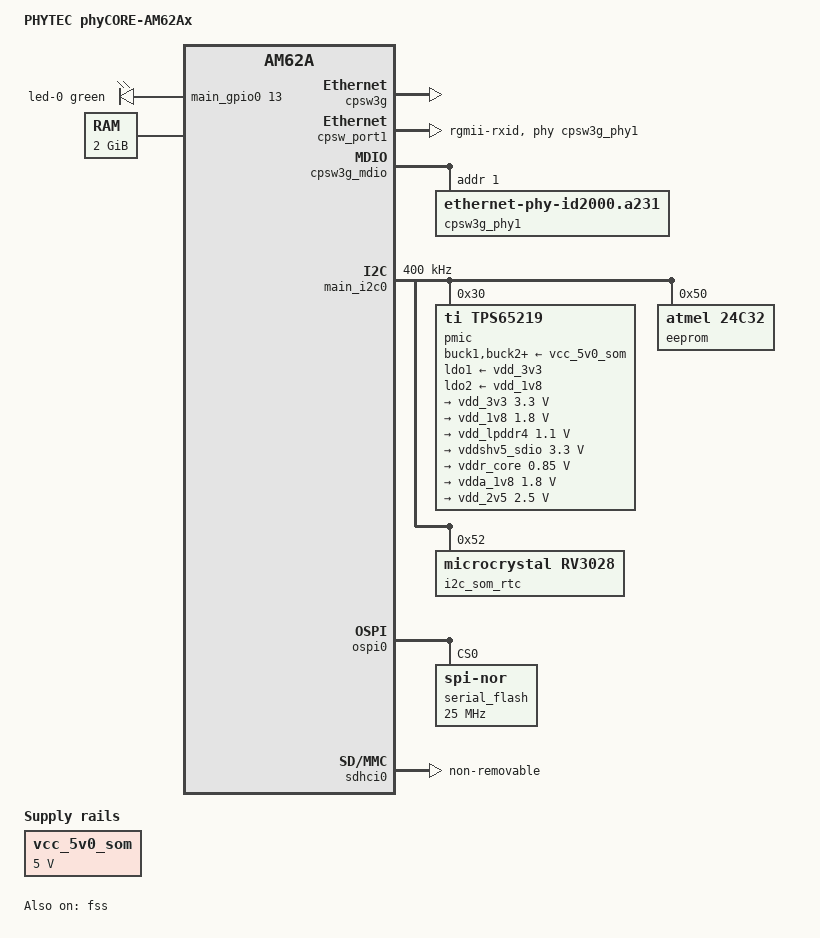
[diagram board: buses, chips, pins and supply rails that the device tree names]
// SPDX-License-Identifier: GPL-2.0-only OR MIT
/*
 * Copyright (C) 2023 - 2024 PHYTEC America LLC
 * Author: Garrett Giordano <ggiordano@phytec.com>
 *
 * Product homepage:
 * https://www.phytec.com/product/phycore-am62a
 */

#include <dt-bindings/gpio/gpio.h>
#include <dt-bindings/leds/common.h>
#include <dt-bindings/net/ti-dp83867.h>

/ {
	model = "PHYTEC phyCORE-AM62Ax";
	compatible = "phytec,am62a-phycore-som", "ti,am62a7";

	aliases {
		ethernet0 = &cpsw_port1;
		gpio0 = &main_gpio0;
		gpio1 = &main_gpio1;
		i2c0 = &main_i2c0;
		mmc0 = &sdhci0;
		rtc0 = &i2c_som_rtc;
		spi0 = &ospi0;
	};

	leds {
		compatible = "gpio-leds";
		pinctrl-names = "default";
		pinctrl-0 = <&leds_pins_default>;

		led-0 {
			color = <LED_COLOR_ID_GREEN>;
			gpios = <&main_gpio0 13 GPIO_ACTIVE_HIGH>;
			linux,default-trigger = "heartbeat";
			function = LED_FUNCTION_HEARTBEAT;
		};
	};

	memory@80000000 {
		device_type = "memory";
		/* 2G RAM */
		reg = <0x00000000 0x80000000 0x00000000 0x80000000>;
		bootph-all;
	};

	reserved-memory {
		#address-cells = <2>;
		#size-cells = <2>;
		ranges;

		/* global cma region */
		linux,cma {
			compatible = "shared-dma-pool";
			reusable;
			size = <0x00 0x24000000>;
			alloc-ranges = <0x00 0xc0000000 0x00 0x24000000>;
			linux,cma-default;
		};

		secure_tfa_ddr: tfa@9e780000 {
			reg = <0x00 0x9e780000 0x00 0x80000>;
			alignment = <0x1000>;
			no-map;
		};

		secure_ddr: optee@9e800000 {
			reg = <0x00 0x9e800000 0x00 0x01800000>; /* for OP-TEE */
			alignment = <0x1000>;
			no-map;
		};

		wkup_r5fss0_core0_memory_region: r5f-dma-memory@9c900000 {
			compatible = "shared-dma-pool";
			reg = <0x00 0x9c900000 0x00 0x01e00000>;
			no-map;
		};
	};

	vcc_5v0_som: regulator-vcc-5v0-som {
		compatible = "regulator-fixed";
		regulator-name = "VCC_5V0_SOM";
		regulator-min-microvolt = <5000000>;
		regulator-max-microvolt = <5000000>;
		regulator-always-on;
		regulator-boot-on;
	};
};

&main_pmx0 {
	leds_pins_default: leds-default-pins {
		pinctrl-single,pins = <
			AM62AX_IOPAD(0x034, PIN_OUTPUT, 7) /* (K20) OSPI0_CSN2.GPIO0_13 */
		>;
	};

	main_i2c0_pins_default: main-i2c0-default-pins {
		pinctrl-single,pins = <
			AM62AX_IOPAD(0x1e0, PIN_INPUT_PULLUP, 0) /* (D17) I2C0_SCL */
			AM62AX_IOPAD(0x1e4, PIN_INPUT_PULLUP, 0) /* (E16) I2C0_SDA */
		>;
		bootph-all;
	};

	main_mdio1_pins_default: main-mdio1-default-pins {
		pinctrl-single,pins = <
			AM62AX_IOPAD(0x160, PIN_OUTPUT, 0) /* (V12) MDIO0_MDC */
			AM62AX_IOPAD(0x15c, PIN_INPUT, 0) /* (V13) MDIO0_MDIO */
		>;
		bootph-all;
	};

	main_mmc0_pins_default: main-mmc0-default-pins {
		pinctrl-single,pins = <
			AM62AX_IOPAD(0x220, PIN_INPUT_PULLUP, 0) /* (Y6) MMC0_CMD */
			AM62AX_IOPAD(0x218, PIN_INPUT_PULLDOWN, 0) /* (AB7) MMC0_CLK */
			AM62AX_IOPAD(0x214, PIN_INPUT_PULLUP, 0) /* (AA6) MMC0_DAT0 */
			AM62AX_IOPAD(0x210, PIN_INPUT_PULLUP, 0) /* (AB6) MMC0_DAT1 */
			AM62AX_IOPAD(0x20c, PIN_INPUT_PULLUP, 0) /* (Y7) MMC0_DAT2 */
			AM62AX_IOPAD(0x208, PIN_INPUT_PULLUP, 0) /* (AA7) MMC0_DAT3 */
			AM62AX_IOPAD(0x204, PIN_INPUT_PULLUP, 0) /* (Y8) MMC0_DAT4 */
			AM62AX_IOPAD(0x200, PIN_INPUT_PULLUP, 0) /* (W7) MMC0_DAT5 */
			AM62AX_IOPAD(0x1fc, PIN_INPUT_PULLUP, 0) /* (W9) MMC0_DAT6 */
			AM62AX_IOPAD(0x1f8, PIN_INPUT_PULLUP, 0) /* (AB8) MMC0_DAT7 */
		>;
		bootph-all;
	};

	main_rgmii1_pins_default: main-rgmii1-default-pins {
		pinctrl-single,pins = <
			AM62AX_IOPAD(0x14c, PIN_INPUT, 0) /* (AB16) RGMII1_RD0 */
			AM62AX_IOPAD(0x150, PIN_INPUT, 0) /* (V15) RGMII1_RD1 */
			AM62AX_IOPAD(0x154, PIN_INPUT, 0) /* (W15) RGMII1_RD2 */
			AM62AX_IOPAD(0x158, PIN_INPUT, 0) /* (V14) RGMII1_RD3 */
			AM62AX_IOPAD(0x148, PIN_INPUT, 0) /* (AA16) RGMII1_RXC */
			AM62AX_IOPAD(0x144, PIN_INPUT, 0) /* (AA15) RGMII1_RX_CTL */
			AM62AX_IOPAD(0x134, PIN_OUTPUT, 0) /* (Y17) RGMII1_TD0 */
			AM62AX_IOPAD(0x138, PIN_OUTPUT, 0) /* (V16) RGMII1_TD1 */
			AM62AX_IOPAD(0x13c, PIN_OUTPUT, 0) /* (Y16) RGMII1_TD2 */
			AM62AX_IOPAD(0x140, PIN_OUTPUT, 0) /* (AA17) RGMII1_TD3 */
			AM62AX_IOPAD(0x130, PIN_OUTPUT, 0) /* (AB17) RGMII1_TXC */
			AM62AX_IOPAD(0x12c, PIN_OUTPUT, 0) /* (W16) RGMII1_TX_CTL */
		>;
		bootph-all;
	};

	ospi0_pins_default: ospi0-default-pins {
		pinctrl-single,pins = <
			AM62AX_IOPAD(0x000, PIN_OUTPUT, 0) /* (L22) OSPI0_CLK */
			AM62AX_IOPAD(0x02c, PIN_OUTPUT, 0) /* (H21) OSPI0_CSn0 */
			AM62AX_IOPAD(0x038, PIN_OUTPUT, 0) /* (G20) OSPI0_CSn3 */
			AM62AX_IOPAD(0x00c, PIN_INPUT, 0) /* (J21) OSPI0_D0 */
			AM62AX_IOPAD(0x010, PIN_INPUT, 0) /* (J18) OSPI0_D1 */
			AM62AX_IOPAD(0x014, PIN_INPUT, 0) /* (J19) OSPI0_D2 */
			AM62AX_IOPAD(0x018, PIN_INPUT, 0) /* (H18) OSPI0_D3 */
			AM62AX_IOPAD(0x01c, PIN_INPUT, 0) /* (K21) OSPI0_D4 */
			AM62AX_IOPAD(0x020, PIN_INPUT, 0) /* (H19) OSPI0_D5 */
			AM62AX_IOPAD(0x024, PIN_INPUT, 0) /* (J20) OSPI0_D6 */
			AM62AX_IOPAD(0x028, PIN_INPUT, 0) /* (J22) OSPI0_D7 */
			AM62AX_IOPAD(0x008, PIN_INPUT, 0) /* (L21) OSPI0_DQS */
		>;
		bootph-all;
	};

	pmic_irq_pins_default: pmic-irq-default-pins {
		pinctrl-single,pins = <
			AM62AX_IOPAD(0x1f4, PIN_INPUT, 0) /* (D16) EXTINTn */
		>;
	};
};

&cpsw3g {
	pinctrl-names = "default";
	pinctrl-0 = <&main_rgmii1_pins_default>;
	status = "okay";
};

&cpsw_port1 {
	phy-mode = "rgmii-rxid";
	phy-handle = <&cpsw3g_phy1>;
	bootph-all;
};

&cpsw3g_mdio {
	pinctrl-names = "default";
	pinctrl-0 = <&main_mdio1_pins_default>;

	cpsw3g_phy1: ethernet-phy@1 {
		compatible = "ethernet-phy-id2000.a231", "ethernet-phy-ieee802.3-c22";
		reg = <1>;
		bootph-all;
		ti,clk-output-sel = <DP83867_CLK_O_SEL_OFF>;
		ti,rx-internal-delay = <DP83867_RGMIIDCTL_2_00_NS>;
		ti,fifo-depth = <DP83867_PHYCR_FIFO_DEPTH_4_B_NIB>;
	};
};

&fss {
	status = "okay";
};

&main_i2c0 {
	pinctrl-names = "default";
	pinctrl-0 = <&main_i2c0_pins_default>;
	clock-frequency = <400000>;
	bootph-all;
	status = "okay";

	pmic@30 {
		compatible = "ti,tps65219";
		reg = <0x30>;
		buck1-supply = <&vcc_5v0_som>;
		buck2-supply = <&vcc_5v0_som>;
		buck3-supply = <&vcc_5v0_som>;
		ldo1-supply = <&vdd_3v3>;
		ldo2-supply = <&vdd_1v8>;
		ldo3-supply = <&vcc_5v0_som>;
		ldo4-supply = <&vcc_5v0_som>;

		pinctrl-names = "default";
		pinctrl-0 = <&pmic_irq_pins_default>;
		interrupt-parent = <&gic500>;
		interrupts = <GIC_SPI 224 IRQ_TYPE_LEVEL_HIGH>;
		interrupt-controller;
		#interrupt-cells = <1>;
		system-power-controller;
		ti,power-button;

		regulators {
			vdd_3v3: buck1 {
				regulator-name = "VDD_3V3";
				regulator-min-microvolt = <3300000>;
				regulator-max-microvolt = <3300000>;
				regulator-boot-on;
				regulator-always-on;
			};

			vdd_1v8: buck2 {
				regulator-name = "VDD_1V8";
				regulator-min-microvolt = <1800000>;
				regulator-max-microvolt = <1800000>;
				regulator-boot-on;
				regulator-always-on;
			};

			vdd_lpddr4: buck3 {
				regulator-name = "VDD_LPDDR4";
				regulator-min-microvolt = <1100000>;
				regulator-max-microvolt = <1100000>;
				regulator-boot-on;
				regulator-always-on;
			};

			vddshv5_sdio: ldo1 {
				regulator-name = "VDDSHV5_SDIO";
				regulator-min-microvolt = <3300000>;
				regulator-max-microvolt = <3300000>;
				regulator-allow-bypass;
				regulator-boot-on;
				regulator-always-on;
			};

			vddr_core: ldo2 {
				regulator-name = "VDDR_CORE";
				regulator-min-microvolt = <850000>;
				regulator-max-microvolt = <850000>;
				regulator-boot-on;
				regulator-always-on;
			};

			vdda_1v8: ldo3 {
				regulator-name = "VDDA_1V8";
				regulator-min-microvolt = <1800000>;
				regulator-max-microvolt = <1800000>;
				regulator-boot-on;
				regulator-always-on;
			};

			vdd_2v5: ldo4 {
				regulator-name = "VDD_2V5";
				regulator-min-microvolt = <2500000>;
				regulator-max-microvolt = <2500000>;
				regulator-boot-on;
				regulator-always-on;
			};
		};
	};

	eeprom@50 {
		compatible = "atmel,24c32";
		pagesize = <32>;
		reg = <0x50>;
	};

	i2c_som_rtc: rtc@52 {
		compatible = "microcrystal,rv3028";
		reg = <0x52>;
	};
};

&main_gpio0 {
	status = "okay";
};

&main_gpio1 {
	status = "okay";
};

&main_gpio_intr {
	status = "okay";
};

&main_pktdma {
	bootph-all;
};

&ospi0 {
	pinctrl-names = "default";
	pinctrl-0 = <&ospi0_pins_default>;
	status = "okay";

	serial_flash: flash@0 {
		compatible = "jedec,spi-nor";
		reg = <0x0>;
		spi-tx-bus-width = <8>;
		spi-rx-bus-width = <8>;
		spi-max-frequency = <25000000>;
		cdns,tshsl-ns = <60>;
		cdns,tsd2d-ns = <60>;
		cdns,tchsh-ns = <60>;
		cdns,tslch-ns = <60>;
		cdns,read-delay = <0>;
		bootph-all;
	};
};

&sdhci0 {
	pinctrl-names = "default";
	pinctrl-0 = <&main_mmc0_pins_default>;
	disable-wp;
	non-removable;
	bootph-all;
	status = "okay";
};
